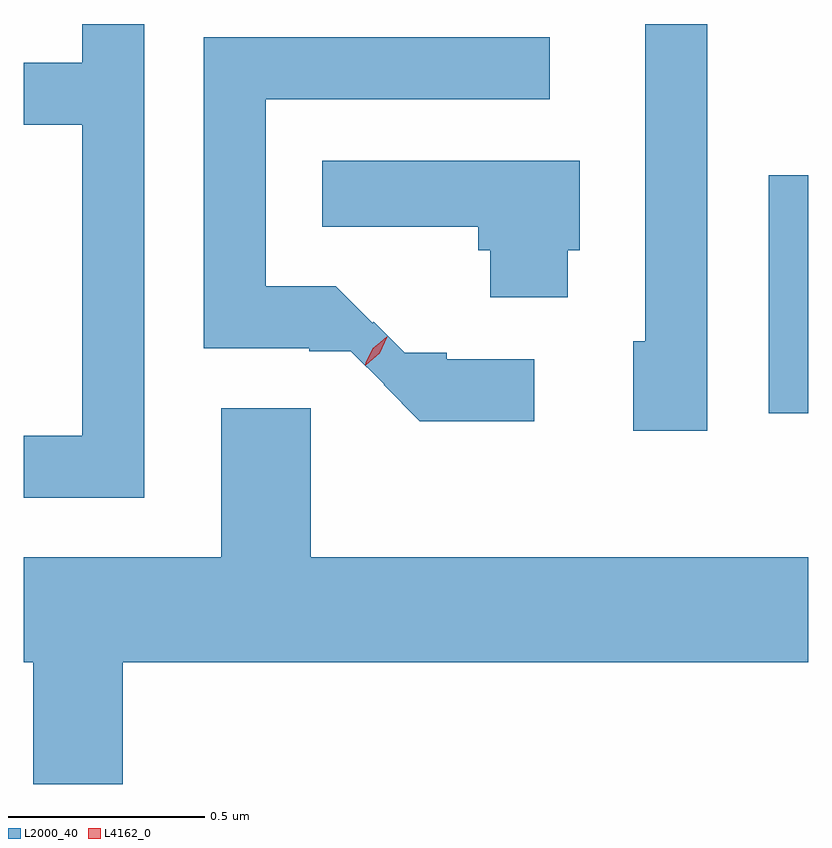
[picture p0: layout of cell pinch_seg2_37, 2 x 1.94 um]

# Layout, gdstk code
import gdstk
lib = gdstk.Library(unit=1e-6, precision=1e-09)
def R(c, l, rs):  # rectangles x0, y0, x1, y1
    for r in rs: c.add(gdstk.rectangle(r[:2], r[2:], *l))
def P(c, l, *ps):  # polygons
    for p in ps: c.add(gdstk.Polygon(p, *l))
L2000_40 = (2000, 40)
L4162_0 = (4162, 0)

pinch_seg2_37 = lib.new_cell('pinch_seg2_37')
R(pinch_seg2_37, L2000_40, [(826.876,1073.371,826.977,1073.978)])
P(pinch_seg2_37, L2000_40, [(825.284,1074.363),(825.126,1074.363),(825.126,1074.264),(824.977,1074.264),(824.977,1074.106),(825.126,1074.106),(825.126,1073.314),(824.977,1073.314),(824.977,1073.156),(825.284,1073.156)],
  [(826.719,1074.363),(826.561,1074.363),(826.561,1073.554),(826.531,1073.554),(826.531,1073.326),(826.719,1073.326)],
  [(826.278,1073.509),(826.056,1073.509),(826.056,1073.525),(825.948,1073.525),(825.869,1073.604),(825.866,1073.601),(825.772,1073.694),(825.594,1073.694),(825.594,1074.171),(826.318,1074.171),(826.318,1074.329),(825.436,1074.329),(825.436,1073.536),(825.705,1073.536),(825.705,1073.529),(825.811,1073.529),(825.896,1073.445),(825.895,1073.444),(825.987,1073.351),(826.278,1073.351)],
  [(826.364,1073.786),(826.394,1073.786),(826.394,1074.014),(825.738,1074.014),(825.738,1073.846),(826.136,1073.846),(826.136,1073.786),(826.166,1073.786),(826.166,1073.666),(826.364,1073.666)],
  [(825.229,1072.736),(826.977,1072.736),(826.977,1073.004),(825.709,1073.004),(825.709,1073.384),(825.481,1073.384),(825.481,1073.004),(824.977,1073.004),(824.977,1072.736),(825.001,1072.736),(825.001,1072.426),(825.229,1072.426)])
P(pinch_seg2_37, L4162_0, [(825.848,1073.493),(825.848,1073.494),(825.868,1073.536),(825.903,1073.566),(825.904,1073.566),(825.904,1073.566),(825.884,1073.524),(825.849,1073.493)],
  [(825.849,1073.499),(825.849,1073.5),(825.867,1073.537),(825.899,1073.562),(825.9,1073.562),(825.9,1073.562),(825.882,1073.525),(825.85,1073.499)])

lib.write_gds('pinch_seg2_37.gds')
